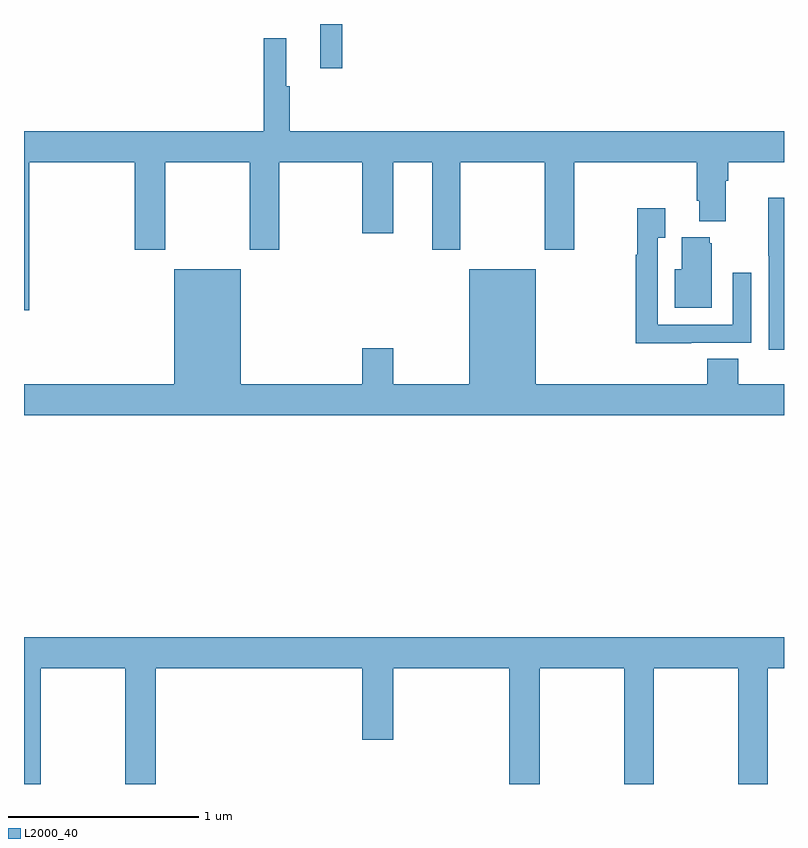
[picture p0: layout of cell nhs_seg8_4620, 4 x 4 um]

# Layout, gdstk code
import gdstk
lib = gdstk.Library(unit=1e-6, precision=1e-09)
def R(c, l, rs):  # rectangles x0, y0, x1, y1
    for r in rs: c.add(gdstk.rectangle(r[:2], r[2:], *l))
def P(c, l, *ps):  # polygons
    for p in ps: c.add(gdstk.Polygon(p, *l))
L2000_40 = (2000, 40)

nhs_seg8_4620 = lib.new_cell('nhs_seg8_4620')
R(nhs_seg8_4620, L2000_40, [(392.558,1111.668,392.675,1111.9)])
P(nhs_seg8_4620, L2000_40, [(392.399,1111.572),(392.381,1111.572),(392.381,1111.825),(392.263,1111.825),(392.263,1111.336),(391,1111.336),(391,1110.393),(391.028,1110.393),(391.028,1111.172),(391.583,1111.172),(391.583,1110.711),(391.743,1110.711),(391.743,1111.172),(392.188,1111.172),(392.188,1110.711),(392.343,1110.711),(392.343,1111.172),(392.78,1111.172),(392.78,1110.798),(392.944,1110.798),(392.944,1111.172),(393.149,1111.172),(393.149,1110.711),(393.297,1110.711),(393.297,1111.172),(393.742,1111.172),(393.742,1110.711),(393.897,1110.711),(393.897,1111.172),(394.541,1111.172),(394.541,1110.97),(394.553,1110.97),(394.553,1110.863),(394.693,1110.863),(394.693,1111.076),(394.706,1111.076),(394.706,1111.172),(395,1111.172),(395,1111.336),(392.399,1111.336)],
  [(395,1110.986),(394.918,1110.986),(394.918,1110.679),(394.92,1110.679),(394.92,1110.186),(395,1110.186)],
  [(394.511,1110.222),(394.827,1110.222),(394.827,1110.592),(394.731,1110.592),(394.731,1110.318),(394.335,1110.318),(394.335,1110.775),(394.375,1110.775),(394.375,1110.931),(394.227,1110.931),(394.227,1110.686),(394.219,1110.686),(394.219,1110.221),(394.511,1110.221)],
  [(394.621,1110.747),(394.61,1110.747),(394.61,1110.778),(394.463,1110.778),(394.463,1110.61),(394.424,1110.61),(394.424,1110.407),(394.621,1110.407)],
  [(395,1110.004),(394.76,1110.004),(394.76,1110.137),(394.595,1110.137),(394.595,1110.004),(393.694,1110.004),(393.694,1110.61),(393.344,1110.61),(393.344,1110.004),(392.944,1110.004),(392.944,1110.193),(392.78,1110.193),(392.78,1110.004),(392.14,1110.004),(392.14,1110.61),(391.79,1110.61),(391.79,1110.004),(391,1110.004),(391,1109.84),(395,1109.84)],
  [(391.089,1108.508),(391.534,1108.508),(391.534,1107.9),(391.694,1107.9),(391.694,1108.508),(392.78,1108.508),(392.78,1108.134),(392.944,1108.134),(392.944,1108.508),(393.554,1108.508),(393.554,1107.9),(393.714,1107.9),(393.714,1108.508),(394.159,1108.508),(394.159,1107.9),(394.314,1107.9),(394.314,1108.508),(394.759,1108.508),(394.759,1107.9),(394.914,1107.9),(394.914,1108.508),(395,1108.508),(395,1108.672),(391,1108.672),(391,1107.9),(391.089,1107.9)])

lib.write_gds('nhs_seg8_4620.gds')
